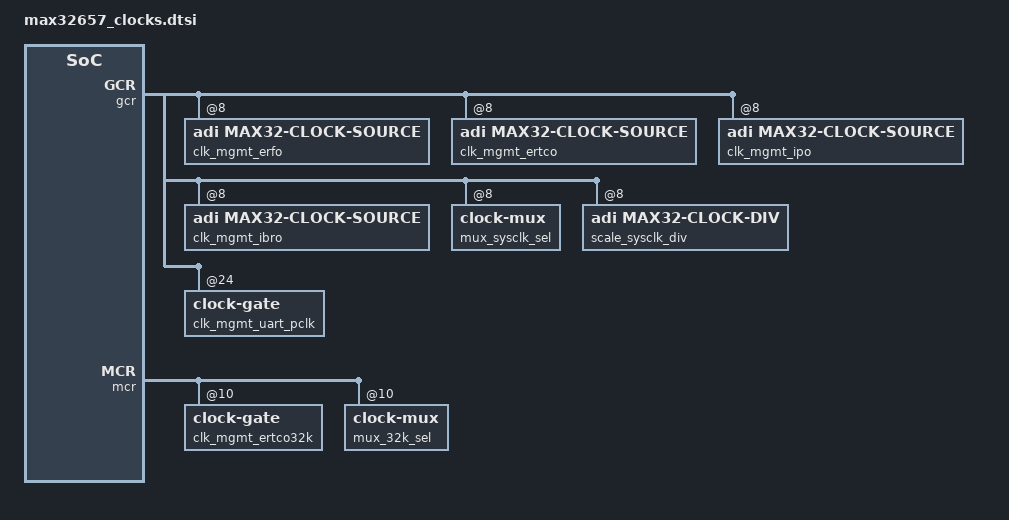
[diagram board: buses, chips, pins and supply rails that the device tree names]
/*
 * Copyright (c) 2026 Analog Devices, Inc.
 *
 * SPDX-License-Identifier: Apache-2.0
 */

#include <zephyr/dt-bindings/clock/adi_max32_clock.h>

/ {
	no_clock: no-clock {
		/* Dummy clock for invalid or reserved mux inputs. */
		#clock-cells = <0>;
		compatible = "fixed-clock";
		clock-frequency = <0>;
	};

	clk_mgmt_ext: ext {
		#clock-cells = <0>;
		compatible = "fixed-clock";
		clock-frequency = <0>;
	};

	clk_mgmt_inro: inro {
		#clock-cells = <0>;
		compatible = "fixed-clock";
		clock-frequency = <131072>;
	};

	clk_mgmt_inro_div4: inro_div4 {
		#clock-cells = <0>;
		compatible = "fixed-factor-clock";
		clock-div = <4>;
		clocks = <&clk_mgmt_inro>;
	};

	clk_mgmt_rtc: rtc {
		#clock-cells = <0>;
		compatible = "fixed-clock";
		clock-frequency = <0>;
	};

	clk_mgmt_pclk: pclk {
		#clock-cells = <0>;
		compatible = "fixed-factor-clock";
		clock-div = <2>;
		clocks = <&scale_sysclk_div 0>;
	};

	/* The UART mux cannot exist in the UART node otherwise it leads to a circular dependency */
	bclk_src: mux@50042000 {
		#clock-cells = <1>;
		compatible = "clock-mux";
		reg = <0x50042000 0x3>;
		offset = <0x10>;
		input-sources = <&clk_mgmt_pclk &clk_mgmt_ibro>;
	};
};

&cpu0 {
	clock-outputs = <&sys_clk>;
	clock-output-names = "default";
	clock-request-0 = <&sys_clk_erfo_32>;
	clock-request-1 = <&sys_clk_erfo_16>;
	clock-request-2 = <&sys_clk_erfo_8>;
	clock-request-3 = <&sys_clk_ipo>;
	clock-request-4 = <&sys_clk_32k>;
	clock-request-names = "default", "medium", "low", "turbo", "32k";
};

&gcr {
	#address-cells = <1>;
	#size-cells = <1>;
	ranges = <0x0 0x0 0x400>;

	clk_mgmt_erfo: erfo@8 {
		#clock-cells = <1>;
		compatible = "adi,max32-clock-source";
		reg = <0x8 0x1>;
		offset = <0x10>;
		frequency = <DT_FREQ_M(32)>;
		enable = <ADI_MAX32_CLK_SRC_EN_ERFO>;
	};

	clk_mgmt_ertco: ertco@8 {
		#clock-cells = <1>;
		compatible = "adi,max32-clock-source";
		reg = <0x8 0x1>;
		offset = <0x11>;
		frequency = <32768>;
		enable = <ADI_MAX32_CLK_SRC_EN_ERTCO>;
	};

	clk_mgmt_ipo: ipo@8 {
		#clock-cells = <1>;
		compatible = "adi,max32-clock-source";
		reg = <0x8 0x1>;
		offset = <0x12>;
		frequency = <DT_FREQ_M(50)>;
		enable = <ADI_MAX32_CLK_SRC_EN_IPO>;
	};

	clk_mgmt_ibro: ibro@8 {
		#clock-cells = <1>;
		compatible = "adi,max32-clock-source";
		reg = <0x8 0x1>;
		offset = <0x14>;
		frequency = <7372800>;
		enable = <ADI_MAX32_CLK_SRC_EN_IBRO>;
	};

	mux_sysclk_sel: mux@8 {
		#clock-cells = <1>;
		compatible = "clock-mux";
		reg = <0x8 0x3>;
		offset = <0x9>;
		input-sources = <&clk_mgmt_ipo &no_clock &clk_mgmt_erfo &clk_mgmt_inro &no_clock
				 &clk_mgmt_ibro &mux_32k_sel &clk_mgmt_ext>;
	};

	scale_sysclk_div: prescaler@8 {
		#clock-cells = <1>;
		compatible = "adi,max32-clock-div";
		reg = <0x8 0x3>;
		offset = <0x6>;
		input-source = <&mux_sysclk_sel>;

		sys_clk: sys_clk {
			#clock-cells = <0>;
			compatible = "clock-output";

			sys_clk_erfo_32: sys_clk_erfo_32 {
				compatible = "clock-state";
				clocks = <&clk_mgmt_erfo 1 &mux_sysclk_sel 2 &scale_sysclk_div 0>;
			};

			sys_clk_erfo_16: sys_clk_erfo_16 {
				compatible = "clock-state";
				clocks = <&clk_mgmt_erfo 1 &mux_sysclk_sel 2 &scale_sysclk_div 1>;
			};

			sys_clk_erfo_8: sys_clk_erfo_8 {
				compatible = "clock-state";
				clocks = <&clk_mgmt_erfo 1 &mux_sysclk_sel 2 &scale_sysclk_div 2>;
			};

			sys_clk_ipo: sys_clk_ipo {
				compatible = "clock-state";
				clocks = <&clk_mgmt_ipo 1 &mux_sysclk_sel 0 &scale_sysclk_div 0>;
			};

			sys_clk_32k: sys_clk_32k {
				compatible = "clock-state";
				clocks = <&clk_mgmt_ertco 1 &clk_mgmt_ertco32k 1 &mux_32k_sel 0
					  &mux_sysclk_sel 6 &scale_sysclk_div 0>;
			};
		};
	};

	clk_mgmt_uart_pclk: clk_mgmt_uart_pclk@24 {
		#clock-cells = <1>;
		compatible = "clock-gate";
		input = <&bclk_src>;
		reg = <0x24 0x1>;
		offset = <0x9>;
		invert;

		bclk_uart0: bclk_uart0 {
			#clock-cells = <0>;
			compatible = "clock-output";

			/* clk_mgmt_uart_pclk must be first as it ungates access to bclk_src */
			bclk_uart0_pclk: bclk_uart0_pclk {
				compatible = "clock-state";
				clocks = <&clk_mgmt_uart_pclk 1 &bclk_src 0>;
			};

			bclk_uart0_ibro: bclk_uart0_ibro {
				compatible = "clock-state";
				clocks = <&clk_mgmt_uart_pclk 1 &clk_mgmt_ibro 1 &bclk_src 1>;
			};

			bclk_uart0_off: bclk_uart0_off {
				compatible = "clock-state";
				clocks = <&clk_mgmt_uart_pclk 0>;
			};
		};
	};
};

&mcr {
	ranges = <0x0 0x0 0x400>;

	clk_mgmt_ertco32k: ertco32k@8 {
		#clock-cells = <1>;
		compatible = "clock-gate";
		input = <&clk_mgmt_ertco>;
		reg = <0x10 0x1>;
		offset = <0x3>;
	};

	mux_32k_sel: mux@10 {
		#clock-cells = <1>;
		compatible = "clock-mux";
		reg = <0x10 0x2>;
		offset = <0x0>;
		input-sources = <&clk_mgmt_ertco32k &clk_mgmt_inro_div4 &clk_mgmt_rtc>;
	};
};

&gpio0 {
	/delete-property/ clocks;
};

&uart0 {
	clock-outputs = <&bclk_uart0>;
	clock-output-names = "default";
	clock-request-0 = <&bclk_uart0_pclk>;
	clock-request-1 = <&bclk_uart0_ibro>;
	clock-request-2 = <&bclk_uart0_off>;
	clock-request-names = "default", "ibro", "off";
};
